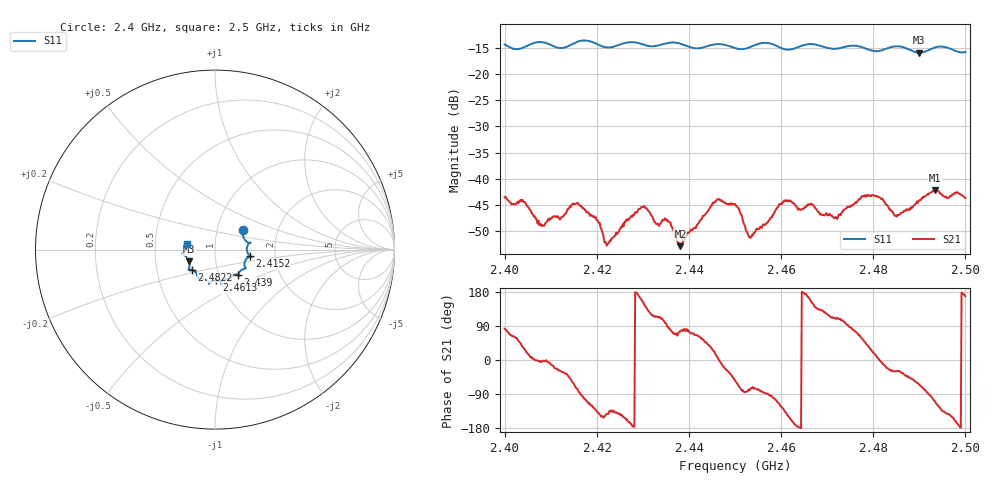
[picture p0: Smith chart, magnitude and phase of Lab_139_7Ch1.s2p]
# Hz S RI R 50
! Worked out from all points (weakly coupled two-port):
!   601 points, 2.4 GHz to 2.5 GHz, reference 50 ohm
!   highest |S21| = -42.11 dB at 2.4933 GHz (marker M1); lowest = -52.9 dB at 2.4382 GHz (marker M2)
!   lowest |S11| = -15.9 dB at 2.4898 GHz (marker M3), VSWR 1.38, Z = 37 - j4.99 ohm
!   |S11| at or under -10 dB: start of sweep to end of sweep
!   S12 and S22 are empty: the file has one direction only
!   S11 on the Smith chart (normalised r, x): 2.4 GHz: 1.33, +0.31; 2.4152 GHz: 1.48, -0.11; 2.439 GHz: 1.24, -0.36; 2.4613 GHz: 0.96, -0.34; 2.4822 GHz: 0.75, -0.17; 2.5 GHz: 0.72, +0.05
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2.4e9  0.1561 0.1112  0.00089 0.0066  0 0  0 0
2.408e9  0.1983 0.0392  0.00353 -0.00019  0 0  0 0
2.415167e9  0.1945 -0.0359  0.0023 -0.00522  0 0  0 0
2.416667e9  0.2042 -0.0417  -0.000299 -0.00554  0 0  0 0
2.422167e9  0.1689 -0.0612  -0.00181 -0.00143  0 0  0 0
2.429833e9  0.1606 -0.1076  -0.00492 0.00217  0 0  0 0
2.433333e9  0.1328 -0.1325  -0.00151 0.00339  0 0  0 0
2.4355e9  0.1335 -0.1464  0.000325 0.00389  0 0  0 0
2.438167e9  0.1331 -0.1426  0.000544 0.00221  0 0  0 0
2.439e9  0.1281 -0.1392  0.000344 0.00259  0 0  0 0
2.446e9  0.0849 -0.1736  0.00614 0.00111  0 0  0 0
2.45e9  0.0686 -0.1634  0.00337 -0.00468  0 0  0 0
2.453333e9  0.0371 -0.1776  0.000608 -0.00269  0 0  0 0
2.461333e9  0.00785 -0.1708  -0.00496 -0.00354  0 0  0 0
2.466667e9  -0.0333 -0.1904  -0.00503 0.00277  0 0  0 0
2.471833e9  -0.0639 -0.1622  -0.00137 0.0041  0 0  0 0
2.477833e9  -0.0969 -0.1507  0.00416 0.00542  0 0  0 0
2.482167e9  -0.1288 -0.1119  0.0061 -0.00121  0 0  0 0
2.483333e9  -0.1398 -0.1102  0.00488 -0.00214  0 0  0 0
2.489833e9  -0.1459 -0.0658  0.00275 -0.00548  0 0  0 0
2.493333e9  -0.1773 -0.026  -0.00247 -0.00744  0 0  0 0
2.5e9  -0.1585 0.0337  -0.00641 0.00133  0 0  0 0
